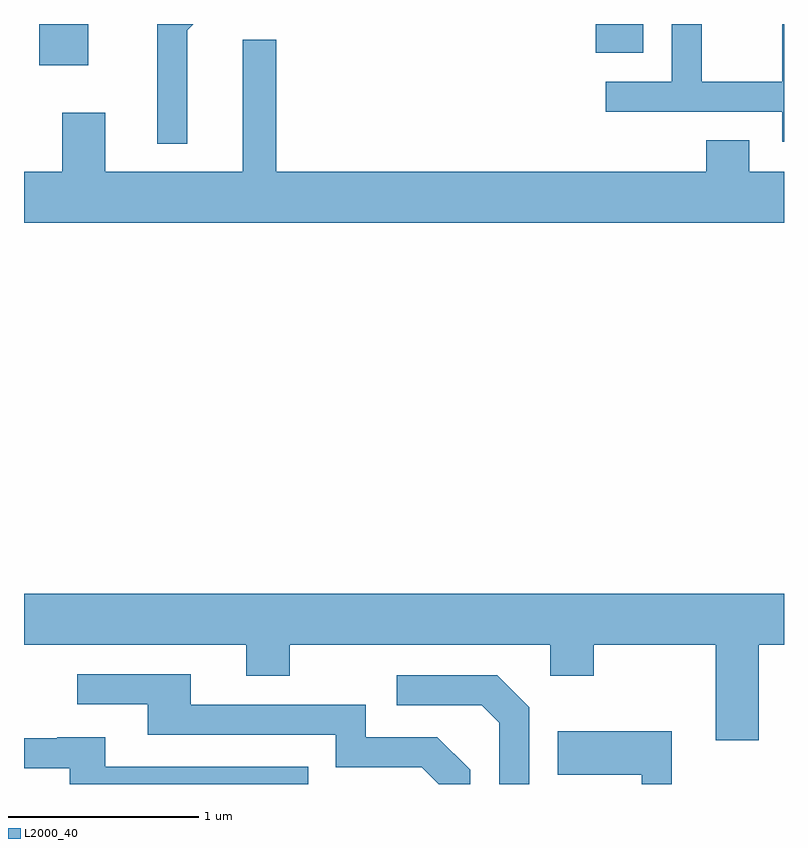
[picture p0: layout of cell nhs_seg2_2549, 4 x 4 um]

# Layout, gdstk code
import gdstk
lib = gdstk.Library(unit=1e-6, precision=1e-09)
def R(c, l, rs):  # rectangles x0, y0, x1, y1
    for r in rs: c.add(gdstk.rectangle(r[:2], r[2:], *l))
def P(c, l, *ps):  # polygons
    for p in ps: c.add(gdstk.Polygon(p, *l))
L2000_40 = (2000, 40)

nhs_seg2_2549 = lib.new_cell('nhs_seg2_2549')
R(nhs_seg2_2549, L2000_40, [(259.691,1053.586,259.949,1053.802), (262.621,1053.651,262.869,1053.802)])
P(nhs_seg2_2549, L2000_40, [(263.611,1053.802),(263.601,1053.802),(263.601,1053.499),(263.179,1053.499),(263.179,1053.802),(263.021,1053.802),(263.021,1053.499),(262.673,1053.499),(262.673,1053.341),(263.601,1053.341),(263.601,1053.181),(263.611,1053.181)],
  [(260.469,1053.769),(260.502,1053.802),(260.311,1053.802),(260.311,1053.173),(260.469,1053.173)],
  [(263.611,1053.024),(263.429,1053.024),(263.429,1053.189),(263.201,1053.189),(263.201,1053.024),(260.939,1053.024),(260.939,1053.719),(260.761,1053.719),(260.761,1053.024),(260.039,1053.024),(260.039,1053.334),(259.811,1053.334),(259.811,1053.024),(259.611,1053.024),(259.611,1052.756),(263.611,1052.756)],
  [(263.479,1050.536),(263.611,1050.536),(263.611,1050.804),(259.611,1050.804),(259.611,1050.536),(260.781,1050.536),(260.781,1050.371),(261.009,1050.371),(261.009,1050.536),(262.381,1050.536),(262.381,1050.371),(262.609,1050.371),(262.609,1050.536),(263.251,1050.536),(263.251,1050.031),(263.479,1050.031)],
  [(261.959,1049.877),(261.787,1050.049),(261.409,1050.049),(261.409,1050.219),(260.489,1050.219),(260.489,1050.379),(259.892,1050.379),(259.892,1050.221),(260.261,1050.221),(260.261,1050.061),(261.251,1050.061),(261.251,1049.891),(261.704,1049.891),(261.793,1049.802),(261.959,1049.802)],
  [(262.269,1050.207),(262.102,1050.374),(261.573,1050.374),(261.573,1050.216),(262.019,1050.216),(262.111,1050.124),(262.111,1049.802),(262.269,1049.802)],
  [(263.019,1050.079),(262.421,1050.079),(262.421,1049.851),(262.861,1049.851),(262.861,1049.802),(263.019,1049.802)],
  [(261.108,1049.894),(260.039,1049.894),(260.039,1050.049),(259.785,1050.049),(259.785,1050.044),(259.611,1050.044),(259.611,1049.886),(259.851,1049.886),(259.851,1049.802),(261.108,1049.802)])

lib.write_gds('nhs_seg2_2549.gds')
